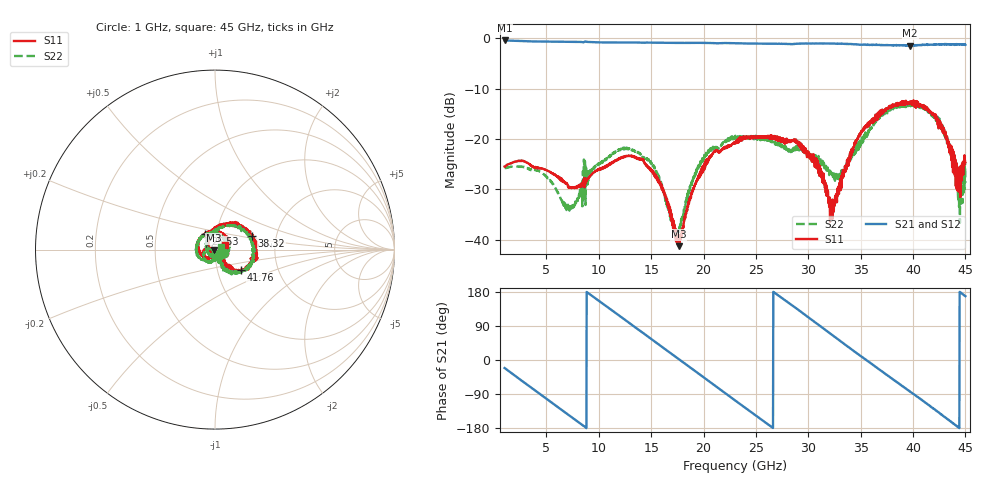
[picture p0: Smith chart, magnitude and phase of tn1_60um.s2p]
!Keysight Technologies,N5247B,MY61255062,A.19.80.06
!Date: Thursday, May 21, 2026 12:26:58
!Correction: S11(Cdelta 2-Port  )
!S21(Cdelta 2-Port  )
!S12(Cdelta 2-Port  )
!S22(Cdelta 2-Port  )
!S2P File: Measurements: S11, S21, S12, S22:
# Hz S  dB  R 50
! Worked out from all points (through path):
!   1601 points, 1 GHz to 45 GHz, reference 50 ohm
!   highest |S21| = -0.47 dB at 1 GHz (marker M1); lowest = -1.5 dB at 39.72 GHz (marker M2)
!   group delay of S21, straight-line fit = 56.1 ps
!   lowest |S11| = -41.3 dB at 17.64 GHz (marker M3), VSWR 1.02, Z = 49.2 - j0.34 ohm
!   |S11| at or under -10 dB: start of sweep to end of sweep
!   |S22| runs from -38.8 to -12.9 dB; largest |S21 - S12| = 0.017
!   S11 on the Smith chart (normalised r, x): 1 GHz: 1.11, -0.04; 25.53 GHz: 0.88, +0.16; 38.32 GHz: 1.49, +0.24; 41.76 GHz: 1.30, -0.30; 45 GHz: 1.11, +0.05
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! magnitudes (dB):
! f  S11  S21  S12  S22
! 1 GHz  -25.5  -0.5  -0.5  -25.8
! 4.465 GHz  -25.8  -0.7  -0.7  -26.6
! 7.05 GHz  -29.4  -0.7  -0.7  -33.1
! 8.342 GHz  -28.9  -0.8  -0.8  -31.5
! 9.553 GHz  -26.6  -0.8  -0.8  -25.8
! 12.33 GHz  -23.5  -0.9  -0.9  -22.0
! 15.69 GHz  -28.1  -0.9  -0.9  -27.4
! 17.17 GHz  -38.0  -0.9  -1.0  -36.8
! 17.64 GHz  -41.3  -1.0  -1.0  -38.4
! 19.95 GHz  -25.8  -1.0  -1.0  -24.3
! 23 GHz  -20.7  -1.0  -1.0  -19.7
! 25.53 GHz  -19.6  -1.1  -1.1  -19.8
! 30.34 GHz  -24.5  -1.1  -1.1  -23.1
! 32.3 GHz  -32.0  -1.1  -1.1  -26.9
! 34.74 GHz  -20.0  -1.3  -1.3  -20.9
! 37.69 GHz  -13.9  -1.4  -1.4  -14.2
! 38.32 GHz  -13.2  -1.4  -1.4  -13.6
! 39.72 GHz  -12.9  -1.5  -1.5  -13.2
! 41.76 GHz  -14.7  -1.3  -1.3  -15.4
! 43.27 GHz  -20.5  -1.3  -1.2  -20.8
! 44.31 GHz  -27.4  -1.2  -1.2  -32.3
! 45 GHz  -24.7  -1.3  -1.3  -28.7
